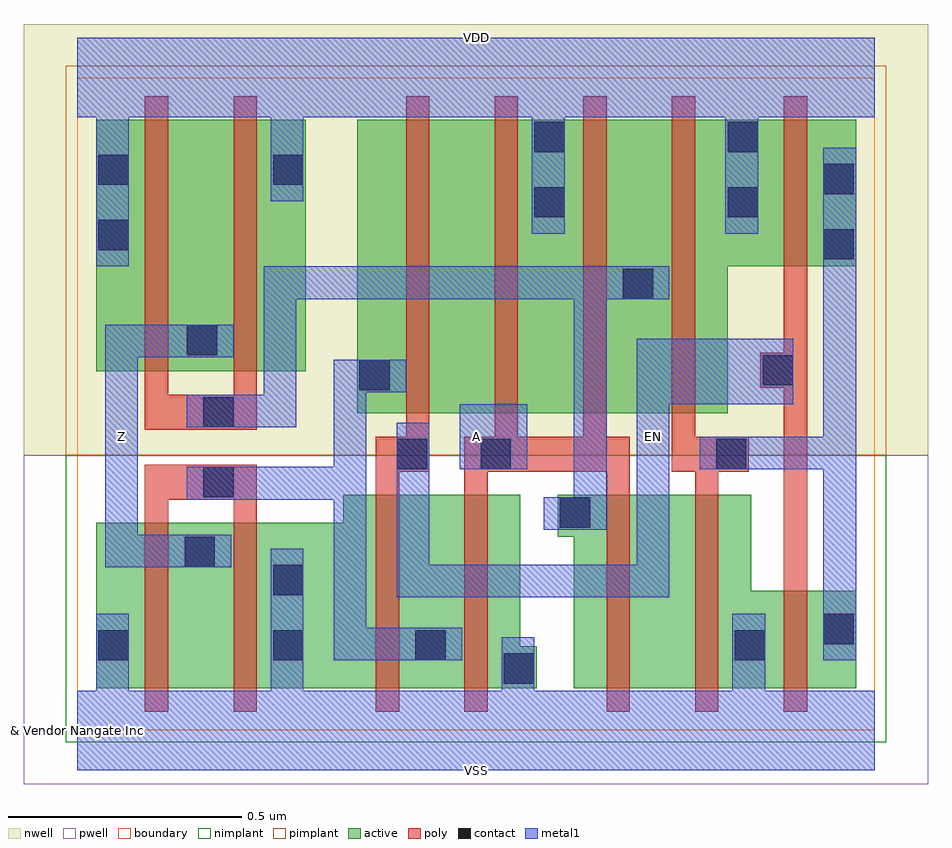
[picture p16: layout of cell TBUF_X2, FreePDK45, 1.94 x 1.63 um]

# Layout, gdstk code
import gdstk
lib = gdstk.Library(unit=1e-6, precision=1e-10)
def R(c, l, rs):  # rectangles x0, y0, x1, y1
    for r in rs: c.add(gdstk.rectangle(r[:2], r[2:], *l))
def P(c, l, *ps):  # polygons
    for p in ps: c.add(gdstk.Polygon(p, *l))
active = (1, 0)
pwell = (2, 0)
nwell = (3, 0)
nimplant = (4, 0)
pimplant = (5, 0)
poly = (9, 0)
contact = (10, 0)
metal1 = (11, 0)
boundary = (235, 0)

tbuf_x2 = lib.new_cell('TBUF_X2')
R(tbuf_x2, active, [(0.04,0.77,0.49,1.31)])
P(tbuf_x2, active, [(0.04,0.09),(0.04,0.445),(0.57,0.445),(0.57,0.505),(0.95,0.505),(0.95,0.18),(0.985,0.18),(0.985,0.09)],
  [(1.065,0.09),(1.065,0.415),(1.03,0.415),(1.03,0.505),(1.445,0.505),(1.445,0.3),(1.67,0.3),(1.67,0.09)],
  [(0.6,0.68),(0.6,1.31),(1.67,1.31),(1.67,0.995),(1.395,0.995),(1.395,0.68)])
R(tbuf_x2, pwell, [(-0.115,-0.115,1.825,0.59)])
R(tbuf_x2, nwell, [(-0.115,0.59,1.825,1.515)])
R(tbuf_x2, nimplant, [(-0.025,-0.025,1.735,0.59)])
R(tbuf_x2, pimplant, [(-0.025,0.59,1.735,1.425)])
P(tbuf_x2, poly, [(0.145,0.04),(0.145,0.57),(0.385,0.57),(0.385,0.04),(0.335,0.04),(0.335,0.495),(0.195,0.495),(0.195,0.04)],
  [(0.145,0.645),(0.145,1.36),(0.195,1.36),(0.195,0.72),(0.335,0.72),(0.335,1.36),(0.385,1.36),(0.385,0.645)],
  [(0.64,0.04),(0.64,0.63),(0.705,0.63),(0.705,1.36),(0.755,1.36),(0.755,0.555),(0.69,0.555),(0.69,0.04)],
  [(0.83,0.04),(0.83,0.63),(0.895,0.63),(0.895,1.36),(0.945,1.36),(0.945,0.63),(1.085,0.63),(1.085,1.36),(1.135,1.36),(1.135,0.63),(1.185,0.63),(1.185,0.04),(1.135,0.04),(1.135,0.555),(0.88,0.555),(0.88,0.04)],
  [(1.325,0.04),(1.325,0.555),(1.275,0.555),(1.275,1.36),(1.325,1.36),(1.325,0.63),(1.44,0.63),(1.44,0.555),(1.375,0.555),(1.375,0.04)],
  [(1.515,0.04),(1.515,0.735),(1.465,0.735),(1.465,0.81),(1.515,0.81),(1.515,1.36),(1.565,1.36),(1.565,0.04)])
R(tbuf_x2, contact, [(0.915,0.1,0.98,0.165), (0.045,0.15,0.11,0.215), (0.42,0.15,0.485,0.215), (0.725,0.15,0.79,0.215), (1.41,0.15,1.475,0.215), (1.6,0.185,1.665,0.25), (0.42,0.29,0.485,0.355), (0.23,0.35,0.295,0.415), (1.035,0.435,1.1,0.5), (0.27,0.5,0.335,0.565), (0.685,0.56,0.75,0.625), (0.865,0.56,0.93,0.625), (1.37,0.56,1.435,0.625), (0.27,0.65,0.335,0.715), (0.605,0.73,0.67,0.795), (1.47,0.74,1.535,0.805), (0.235,0.805,0.3,0.87), (1.17,0.925,1.235,0.99), (1.6,1.01,1.665,1.075), (0.045,1.03,0.11,1.095), (0.98,1.1,1.045,1.165), (1.395,1.1,1.46,1.165), (1.6,1.15,1.665,1.215), (0.045,1.17,0.11,1.235), (0.42,1.17,0.485,1.235), (0.98,1.24,1.045,1.305), (1.395,1.24,1.46,1.305)])
R(tbuf_x2, metal1, [(0.82,0.56,0.965,0.7)])
P(tbuf_x2, metal1, [(0.06,0.35),(0.06,0.87),(0.335,0.87),(0.335,0.8),(0.13,0.8),(0.13,0.42),(0.33,0.42),(0.33,0.35)],
  [(0.55,0.15),(0.55,0.495),(0.235,0.495),(0.235,0.565),(0.55,0.565),(0.55,0.795),(0.705,0.795),(0.705,0.725),(0.62,0.725),(0.62,0.22),(0.825,0.22),(0.825,0.15)],
  [(1,0.43),(1,0.5),(1.065,0.5),(1.065,0.925),(0.47,0.925),(0.47,0.65),(0.235,0.65),(0.235,0.72),(0.4,0.72),(0.4,0.995),(1.27,0.995),(1.27,0.925),(1.135,0.925),(1.135,0.43)],
  [(0.685,0.285),(0.685,0.66),(0.755,0.66),(0.755,0.355),(1.2,0.355),(1.2,0.84),(1.535,0.84),(1.535,0.7),(1.27,0.7),(1.27,0.285)],
  [(1.6,0.15),(1.6,0.56),(1.335,0.56),(1.335,0.63),(1.6,0.63),(1.6,1.25),(1.67,1.25),(1.67,0.15)],
  [(0,-0.085),(0,0.085),(0.04,0.085),(0.04,0.25),(0.11,0.25),(0.11,0.085),(0.415,0.085),(0.415,0.39),(0.485,0.39),(0.485,0.085),(0.91,0.085),(0.91,0.2),(0.98,0.2),(0.98,0.085),(1.405,0.085),(1.405,0.25),(1.475,0.25),(1.475,0.085),(1.71,0.085),(1.71,-0.085)],
  [(0.04,0.995),(0.04,1.315),(0,1.315),(0,1.485),(1.71,1.485),(1.71,1.315),(1.46,1.315),(1.46,1.065),(1.39,1.065),(1.39,1.315),(1.045,1.315),(1.045,1.065),(0.975,1.065),(0.975,1.315),(0.485,1.315),(0.485,1.135),(0.415,1.135),(0.415,1.315),(0.11,1.315),(0.11,0.995)])
R(tbuf_x2, boundary, [(0,0,1.71,1.4)])
tbuf_x2.add(gdstk.Label('A', (0.855,0.63), layer=11, texttype=0))
tbuf_x2.add(gdstk.Label('EN', (1.235,0.63), layer=11, texttype=0))
tbuf_x2.add(gdstk.Label('VDD', (0.855,1.485), layer=11, texttype=0))
tbuf_x2.add(gdstk.Label('VSS', (0.855,-0.085), layer=11, texttype=0))
tbuf_x2.add(gdstk.Label('Z', (0.095,0.63), layer=11, texttype=0))
tbuf_x2.add(gdstk.Label('& Vendor Nangate Inc', (0,0), layer=63, texttype=63))
tbuf_x2.add(gdstk.Label('& Product Open Cell Library', (0,0), layer=63, texttype=63))
tbuf_x2.add(gdstk.Label('& Version 2010_12', (0,0), layer=63, texttype=63))
tbuf_x2.add(gdstk.Label('& Instance TBUF_X2', (0,0), layer=63, texttype=63))

lib.write_gds('TBUF_X2.gds')
